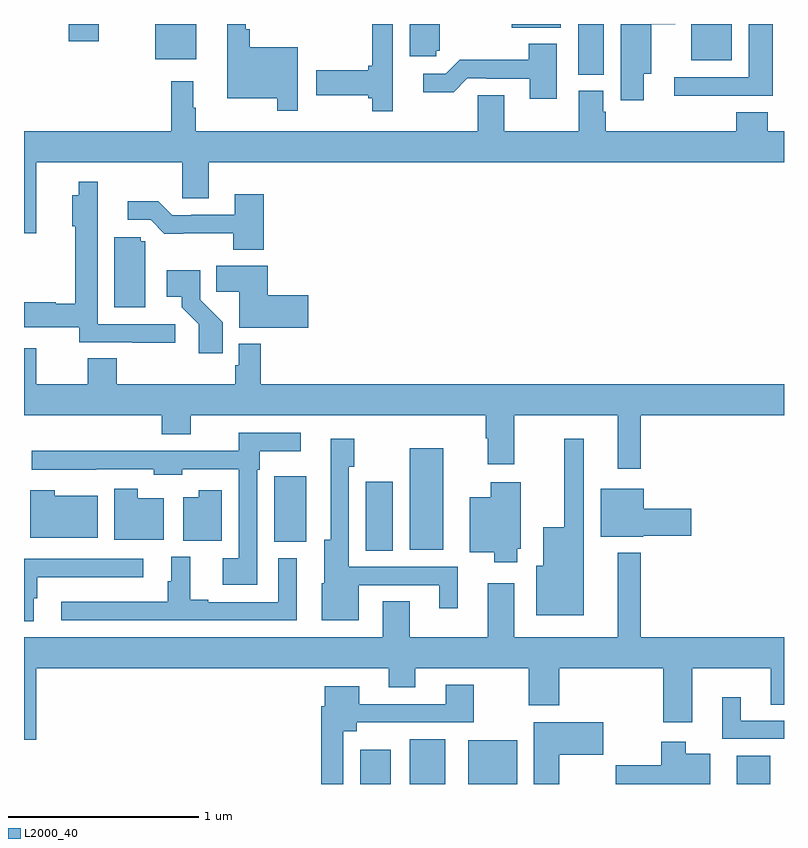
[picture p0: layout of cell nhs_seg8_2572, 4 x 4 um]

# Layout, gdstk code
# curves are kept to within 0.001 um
import gdstk
lib = gdstk.Library(unit=1e-6, precision=1e-09)
def R(c, l, rs):  # rectangles x0, y0, x1, y1
    for r in rs: c.add(gdstk.rectangle(r[:2], r[2:], *l))
def P(c, l, *ps):  # polygons
    for p in ps: c.add(gdstk.Polygon(p, *l))
L2000_40 = (2000, 40)

nhs_seg8_2572 = lib.new_cell('nhs_seg8_2572')
R(nhs_seg8_2572, L2000_40, [(274.769,1107.9,274.93,1108.081), (275.03,1107.9,275.218,1108.135), (275.339,1107.9,275.596,1108.129), (276.752,1107.9,276.928,1108.048), (274.799,1109.128,274.942,1109.491), (275.03,1109.132,275.206,1109.668), (274.316,1109.174,274.486,1109.521), (275.918,1111.633,276.052,1111.9), (276.512,1111.709,276.724,1111.9), (273.692,1111.715,273.907,1111.9), (273.236,1111.809,273.394,1111.9), (275.566,1111.88,275.824,1111.9)])
P(nhs_seg8_2572, L2000_40, [(276.262,1111.637),(276.301,1111.637),(276.301,1111.898),(276.427,1111.898),(276.427,1111.9),(276.14,1111.9),(276.14,1111.5),(276.262,1111.5)],
  [(274.942,1111.662),(274.941,1111.662),(274.941,1111.9),(274.833,1111.9),(274.833,1111.679),(274.812,1111.679),(274.812,1111.656),(274.539,1111.656),(274.539,1111.526),(274.812,1111.526),(274.812,1111.508),(274.833,1111.508),(274.833,1111.44),(274.942,1111.44)],
  [(275.169,1111.758),(275.188,1111.758),(275.188,1111.9),(275.03,1111.9),(275.03,1111.731),(275.169,1111.731)],
  [(276.941,1111.9),(276.815,1111.9),(276.815,1111.62),(276.423,1111.62),(276.423,1111.523),(276.941,1111.523)],
  [(274.44,1111.777),(274.187,1111.777),(274.187,1111.873),(274.167,1111.873),(274.167,1111.9),(274.07,1111.9),(274.07,1111.508),(274.332,1111.508),(274.332,1111.443),(274.44,1111.443)],
  [(275.803,1111.795),(275.656,1111.795),(275.656,1111.711),(275.293,1111.711),(275.22,1111.638),(275.1,1111.638),(275.1,1111.541),(275.261,1111.541),(275.334,1111.614),(275.434,1111.614),(275.434,1111.611),(275.663,1111.611),(275.663,1111.506),(275.803,1111.506)],
  [(273.064,1111.172),(273.834,1111.172),(273.834,1110.982),(273.973,1110.982),(273.973,1111.172),(277,1111.172),(277,1111.336),(276.914,1111.336),(276.914,1111.435),(276.749,1111.435),(276.749,1111.336),(276.062,1111.336),(276.062,1111.437),(276.049,1111.437),(276.049,1111.548),(275.921,1111.548),(275.921,1111.336),(275.527,1111.336),(275.527,1111.526),(275.388,1111.526),(275.388,1111.336),(273.904,1111.336),(273.904,1111.46),(273.892,1111.46),(273.892,1111.6),(273.775,1111.6),(273.775,1111.336),(273,1111.336),(273,1110.798),(273.064,1110.798)],
  [(273.796,1110.321),(273.387,1110.321),(273.387,1110.846),(273.388,1110.846),(273.388,1111.069),(273.289,1111.069),(273.289,1111),(273.254,1111),(273.254,1110.835),(273.271,1110.835),(273.271,1110.427),(273.168,1110.427),(273.168,1110.435),(273,1110.435),(273,1110.305),(273.291,1110.305),(273.291,1110.225),(273.571,1110.225),(273.571,1110.223),(273.796,1110.223)],
  [(274.262,1111.003),(274.109,1111.003),(274.109,1110.897),(273.88,1110.897),(273.88,1110.894),(273.78,1110.894),(273.707,1110.967),(273.546,1110.967),(273.546,1110.87),(273.666,1110.87),(273.739,1110.797),(274.102,1110.798),(274.102,1110.713),(274.262,1110.713)],
  [(273.637,1110.756),(273.615,1110.756),(273.615,1110.777),(273.476,1110.777),(273.476,1110.408),(273.637,1110.408)],
  [(274.495,1110.473),(274.283,1110.473),(274.283,1110.628),(274.012,1110.628),(274.012,1110.49),(274.133,1110.49),(274.133,1110.302),(274.495,1110.302)],
  [(274.046,1110.33),(273.927,1110.449),(273.927,1110.604),(273.75,1110.604),(273.75,1110.464),(273.83,1110.464),(273.83,1110.409),(273.921,1110.319),(273.921,1110.168),(274.046,1110.168)],
  [(276.247,1109.84),(277,1109.84),(277,1110.004),(274.247,1110.004),(274.247,1110.217),(274.131,1110.217),(274.131,1110.105),(274.111,1110.105),(274.111,1110.004),(273.488,1110.004),(273.488,1110.14),(273.335,1110.14),(273.335,1110.004),(273.064,1110.004),(273.064,1110.193),(273,1110.193),(273,1109.84),(273.725,1109.84),(273.725,1109.741),(273.877,1109.741),(273.877,1109.84),(275.429,1109.84),(275.429,1109.72),(275.441,1109.72),(275.441,1109.583),(275.581,1109.583),(275.581,1109.84),(276.125,1109.84),(276.125,1109.559),(276.247,1109.559)],
  [(274.227,1109.555),(274.24,1109.555),(274.24,1109.651),(274.456,1109.651),(274.456,1109.748),(274.129,1109.748),(274.129,1109.654),(273.042,1109.654),(273.042,1109.555),(273.38,1109.555),(273.38,1109.556),(273.684,1109.556),(273.684,1109.528),(273.834,1109.528),(273.834,1109.556),(274.131,1109.556),(274.131,1109.089),(274.047,1109.089),(274.047,1108.949),(274.227,1108.949)],
  [(275.947,1109.716),(275.843,1109.716),(275.843,1109.251),(275.732,1109.251),(275.732,1109.05),(275.696,1109.05),(275.696,1108.787),(275.947,1108.787)],
  [(274.762,1108.947),(275.186,1108.947),(275.186,1108.824),(275.284,1108.824),(275.284,1109.043),(274.71,1109.043),(274.71,1109.571),(274.737,1109.571),(274.737,1109.716),(274.614,1109.716),(274.614,1109.185),(274.58,1109.185),(274.58,1108.956),(274.568,1108.956),(274.568,1108.763),(274.762,1108.763)],
  [(275.596,1109.139),(275.614,1109.139),(275.614,1109.488),(275.456,1109.488),(275.456,1109.41),(275.345,1109.41),(275.345,1109.12),(275.474,1109.12),(275.474,1109.066),(275.596,1109.066)],
  [(276.258,1109.207),(276.511,1109.207),(276.511,1109.349),(276.262,1109.349),(276.262,1109.455),(276.035,1109.455),(276.035,1109.201),(276.258,1109.201)],
  [(273.736,1109.404),(273.598,1109.404),(273.598,1109.455),(273.476,1109.455),(273.476,1109.186),(273.736,1109.186)],
  [(274.042,1109.446),(273.92,1109.446),(273.92,1109.41),(273.839,1109.41),(273.839,1109.18),(274.042,1109.18)],
  [(273.388,1109.416),(273.162,1109.416),(273.162,1109.446),(273.032,1109.446),(273.032,1109.195),(273.388,1109.195)],
  [(273.064,1108.508),(274.919,1108.508),(274.919,1108.409),(275.059,1108.409),(275.059,1108.508),(275.656,1108.508),(275.656,1108.314),(275.816,1108.314),(275.816,1108.508),(276.365,1108.508),(276.365,1108.224),(276.517,1108.224),(276.517,1108.508),(276.929,1108.508),(276.929,1108.318),(277,1108.318),(277,1108.672),(276.247,1108.672),(276.247,1109.116),(276.125,1109.116),(276.125,1108.672),(275.581,1108.672),(275.581,1108.957),(275.441,1108.957),(275.441,1108.672),(275.029,1108.672),(275.029,1108.862),(274.889,1108.862),(274.889,1108.672),(273,1108.672),(273,1108.134),(273.064,1108.134)],
  [(274.435,1109.089),(274.338,1109.089),(274.338,1108.857),(273.97,1108.857),(273.97,1108.87),(273.874,1108.87),(273.874,1109.095),(273.776,1109.095),(273.776,1108.968),(273.757,1108.968),(273.757,1108.858),(273.195,1108.858),(273.195,1108.761),(274.435,1108.761)],
  [(273.052,1108.878),(273.071,1108.878),(273.071,1108.988),(273.628,1108.988),(273.628,1109.085),(273,1109.085),(273,1108.757),(273.052,1108.757)],
  [(274.68,1108.178),(274.75,1108.178),(274.75,1108.224),(275.367,1108.224),(275.367,1108.423),(275.219,1108.423),(275.219,1108.32),(274.765,1108.32),(274.765,1108.414),(274.583,1108.414),(274.583,1108.31),(274.564,1108.31),(274.564,1107.9),(274.68,1107.9)],
  [(277,1108.233),(276.772,1108.233),(276.772,1108.357),(276.674,1108.357),(276.674,1108.137),(277,1108.137)],
  [(275.818,1108.055),(276.049,1108.055),(276.049,1108.225),(275.684,1108.225),(275.684,1107.9),(275.818,1107.9)],
  [(276.613,1108.06),(276.484,1108.06),(276.484,1108.123),(276.355,1108.123),(276.355,1107.998),(276.114,1107.998),(276.114,1107.9),(276.613,1107.9)])

lib.write_gds('nhs_seg8_2572.gds')
